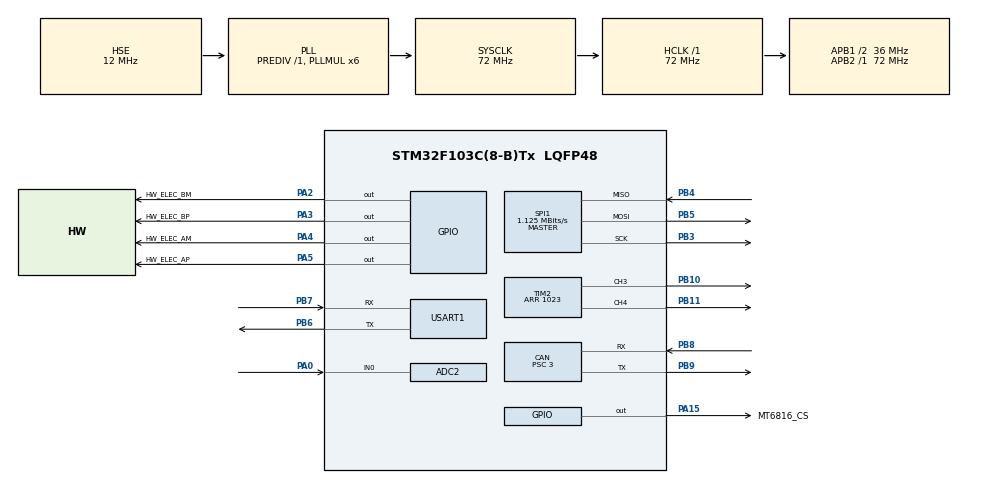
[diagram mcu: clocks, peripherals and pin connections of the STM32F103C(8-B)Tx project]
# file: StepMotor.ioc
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ADC1.Channel-1\#ChannelRegularConversion=ADC_CHANNEL_VREFINT
ADC1.NbrOfConversionFlag=1
ADC1.Rank-1\#ChannelRegularConversion=1
ADC1.SamplingTime-1\#ChannelRegularConversion=ADC_SAMPLETIME_1CYCLE_5
ADC1.master=1
ADC2.Channel-2\#ChannelRegularConversion=ADC_CHANNEL_0
ADC2.NbrOfConversionFlag=1
ADC2.Rank-2\#ChannelRegularConversion=1
ADC2.SamplingTime-2\#ChannelRegularConversion=ADC_SAMPLETIME_1CYCLE_5
CAN.BS1=CAN_BS1_9TQ
CAN.BS2=CAN_BS2_2TQ
CAN.CalculateBaudRate=1000000
CAN.CalculateTimeBit=999.99
CAN.CalculateTimeQuantum=83.33333333333334
CAN.Mode=CAN_MODE_NORMAL
CAN.Prescaler=3
Mcu.Family=STM32F1
Mcu.Name=STM32F103C(8-B)Tx
Mcu.Package=LQFP48
NVIC.PriorityGroup=NVIC_PRIORITYGROUP_4
NVIC.SPI1_IRQn=true\:0\:0\:true\:false\:true\:true\:true
NVIC.USB_LP_CAN1_RX0_IRQn=true\:0\:0\:true\:false\:true\:true\:true
PA0-WKUP.Signal=ADCx_IN0
PA13.Mode=Serial_Wire
PA13.Signal=SYS_JTMS-SWDIO
PA14.Mode=Serial_Wire
PA14.Signal=SYS_JTCK-SWCLK
PA15.GPIO_Label=MT6816_CS
PA15.GPIO_PuPd=GPIO_NOPULL
PA15.GPIO_Speed=GPIO_SPEED_FREQ_HIGH
PA15.PinState=GPIO_PIN_RESET
PA15.Signal=GPIO_Output
PA2.GPIO_Label=HW_ELEC_BM
PA2.GPIO_Speed=GPIO_SPEED_FREQ_HIGH
PA2.PinState=GPIO_PIN_SET
PA2.Signal=GPIO_Output
PA3.GPIO_Label=HW_ELEC_BP
PA3.GPIO_Speed=GPIO_SPEED_FREQ_HIGH
PA3.PinState=GPIO_PIN_SET
PA3.Signal=GPIO_Output
PA4.GPIO_Label=HW_ELEC_AM
PA4.GPIO_Speed=GPIO_SPEED_FREQ_HIGH
PA4.PinState=GPIO_PIN_SET
PA4.Signal=GPIO_Output
PA5.GPIO_Label=HW_ELEC_AP
PA5.GPIO_Speed=GPIO_SPEED_FREQ_HIGH
PA5.PinState=GPIO_PIN_SET
PA5.Signal=GPIO_Output
PB10.Signal=S_TIM2_CH3
PB11.Signal=S_TIM2_CH4
PB3.Mode=Full_Duplex_Master
PB3.Signal=SPI1_SCK
PB4.Mode=Full_Duplex_Master
PB4.Signal=SPI1_MISO
PB5.GPIO_Speed=GPIO_SPEED_FREQ_HIGH
PB5.Mode=Full_Duplex_Master
PB5.Signal=SPI1_MOSI
PB6.Mode=Asynchronous
PB6.Signal=USART1_TX
PB7.Mode=Asynchronous
PB7.Signal=USART1_RX
PB8.Mode=CAN_Activate
PB8.Signal=CAN_RX
PB9.Mode=CAN_Activate
PB9.Signal=CAN_TX
PD0-OSC_IN.Mode=HSE-External-Oscillator
PD0-OSC_IN.Signal=RCC_OSC_IN
PD1-OSC_OUT.Mode=HSE-External-Oscillator
PD1-OSC_OUT.Signal=RCC_OSC_OUT
ProjectManager.HeapSize=0x200
ProjectManager.StackSize=0x400
ProjectManager.TargetToolchain=MDK-ARM V5
RCC.ADCPresc=RCC_ADCPCLK2_DIV6
RCC.AHBFreq_Value=72000000
RCC.APB1CLKDivider=RCC_HCLK_DIV2
RCC.APB1Freq_Value=36000000
RCC.APB1TimFreq_Value=72000000
RCC.APB2Freq_Value=72000000
RCC.APB2TimFreq_Value=72000000
RCC.HCLKFreq_Value=72000000
RCC.HSE_VALUE=12000000
RCC.PLLMUL=RCC_PLL_MUL6
RCC.PLLSourceVirtual=RCC_PLLSOURCE_HSE
RCC.SYSCLKFreq_VALUE=72000000
RCC.SYSCLKSource=RCC_SYSCLKSOURCE_PLLCLK
RCC.USBFreq_Value=72000000
SH.ADCx_IN0.0=ADC2_IN0,IN0
SH.S_TIM2_CH3.0=TIM2_CH3,PWM Generation3 CH3
SH.S_TIM2_CH4.0=TIM2_CH4,PWM Generation4 CH4
SPI1.BaudRatePrescaler=SPI_BAUDRATEPRESCALER_64
SPI1.CLKPhase=SPI_PHASE_2EDGE
SPI1.CLKPolarity=SPI_POLARITY_HIGH
SPI1.CalculateBaudRate=1.125 MBits/s
SPI1.DataSize=SPI_DATASIZE_16BIT
SPI1.Direction=SPI_DIRECTION_2LINES
SPI1.Mode=SPI_MODE_MASTER
SPI1.VirtualType=VM_MASTER
TIM2.Channel-PWM\ Generation3\ CH3=TIM_CHANNEL_3
TIM2.Channel-PWM\ Generation4\ CH4=TIM_CHANNEL_4
TIM2.Period=1023
USART1.VirtualMode=VM_ASYNC
VP_ADC1_TempSens_Input.Mode=IN-TempSens
VP_ADC1_Vref_Input.Mode=IN-Vrefint
board=custom

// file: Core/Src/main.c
/* USER CODE BEGIN Header */
/**
  ******************************************************************************
  * @file           : main.c
  * @brief          : Main program body
  ******************************************************************************
  * @attention
  *
  * <h2><center>&copy; Copyright (c) 2022 STMicroelectronics.
  * All rights reserved.</center></h2>
  *
  * This software component is licensed by ST under BSD 3-Clause license,
  * the "License"; You may not use this file except in compliance with the
  * License. You may obtain a copy of the License at:
  *                        opensource.org/licenses/BSD-3-Clause
  *
  ******************************************************************************
  */
/* USER CODE END Header */
#include "main.h"
#include "adc.h"
#include "can.h"
#include "spi.h"
#include "tim.h"
#include "usart.h"
#include "gpio.h"

/* USER CODE BEGIN Includes */
#include "bsp_adc.h"
#include "MT6816Driver.h"
#include "motor_control.h"
#include "hw_elec.h"
#include "encoder_cali.h"
#include "loop.h"
/* USER CODE END Includes */

void SystemClock_Config(void);

/* USER CODE BEGIN 0 */
//fp32 voltage;
extern MT6816_Typedef	mt6816;
extern Motor_Control_Typedef 	motor_control;
extern SPI_HandleTypeDef hspi1;
extern TIM_HandleTypeDef htim2;
extern Encode_Cali_Typedef encode_cali;

/* USER CODE END 0 */

int main(void)
{

  /* MCU Configuration--------------------------------------------------------*/

  /* Reset of all peripherals, Initializes the Flash interface and the Systick. */
  HAL_Init();

  /* Configure the system clock */
  SystemClock_Config();

  /* Initialize all configured peripherals */
  MX_GPIO_Init();
  MX_USART1_UART_Init();
  MX_ADC1_Init();
  MX_ADC2_Init();
  MX_SPI1_Init();
  MX_TIM2_Init();
  MX_CAN_Init();
  /* USER CODE BEGIN 2 */
	//初始化电压基准系数
	init_vrefint_reciprocal();
	//开启定时器
  HAL_TIM_Base_Start(&htim2);
  //start pwm channel
  //开启PWM通道
  HAL_TIM_PWM_Start(&htim2, TIM_CHANNEL_3);
  HAL_TIM_PWM_Start(&htim2, TIM_CHANNEL_4);
	//初始化编码器
	REIN_MT6816_Init();
	//初始化PID
	Control_PID_Init();
	Control_DCE_Init();
	//初始化校准器
	Calibration_Init();
	encode_cali.trigger=false;

	//CAN过滤器
	can_filter_init();
	loop();
  /* USER CODE END 2 */

  /* Infinite loop */
  while (1)
  {

    /* USER CODE BEGIN 3 */
		//获取电源电压
		//voltage = get_battery_voltage();

		//串口1发送“Robomaster”
		//HAL_UART_Transmit(&huart1, "\r\nRobomaster\r\n", 14, 100);
		//获取编码器角度
		//REIN_MT6816_Get_AngleData();
		//i = mt6816.angle_data;
		//Flag = mt6816_spi.no_mag_flag;
		//延时1000ms
		//REIN_HW_Elec_SetDivideElec(1000,3000);
		//motor_control.est_location = mt6816.angle_data;
			//Control_Cur_To_Electric(cu);
		//Delay_us(1000);
		//REIN_HW_Elec_SetBrake();
		//Control_PID_To_Electric(102400);
		//HAL_Delay(100);
  }
  /* USER CODE END 3 */
}

void SystemClock_Config(void)
{
  RCC_OscInitTypeDef RCC_OscInitStruct = {0};
  RCC_ClkInitTypeDef RCC_ClkInitStruct = {0};
  RCC_PeriphCLKInitTypeDef PeriphClkInit = {0};

  /** Initializes the RCC Oscillators according to the specified parameters
  * in the RCC_OscInitTypeDef structure.
  */
  RCC_OscInitStruct.OscillatorType = RCC_OSCILLATORTYPE_HSE;
  RCC_OscInitStruct.HSEState = RCC_HSE_ON;
  RCC_OscInitStruct.HSEPredivValue = RCC_HSE_PREDIV_DIV1;
  RCC_OscInitStruct.HSIState = RCC_HSI_ON;
  RCC_OscInitStruct.PLL.PLLState = RCC_PLL_ON;
  RCC_OscInitStruct.PLL.PLLSource = RCC_PLLSOURCE_HSE;
  RCC_OscInitStruct.PLL.PLLMUL = RCC_PLL_MUL6;
  if (HAL_RCC_OscConfig(&RCC_OscInitStruct) != HAL_OK)
  {
    Error_Handler();
  }
  /** Initializes the CPU, AHB and APB buses clocks
  */
  RCC_ClkInitStruct.ClockType = RCC_CLOCKTYPE_HCLK|RCC_CLOCKTYPE_SYSCLK
                              |RCC_CLOCKTYPE_PCLK1|RCC_CLOCKTYPE_PCLK2;
  RCC_ClkInitStruct.SYSCLKSource = RCC_SYSCLKSOURCE_PLLCLK;
  RCC_ClkInitStruct.AHBCLKDivider = RCC_SYSCLK_DIV1;
  RCC_ClkInitStruct.APB1CLKDivider = RCC_HCLK_DIV2;
  RCC_ClkInitStruct.APB2CLKDivider = RCC_HCLK_DIV1;

  if (HAL_RCC_ClockConfig(&RCC_ClkInitStruct, FLASH_LATENCY_2) != HAL_OK)
  {
    Error_Handler();
  }
  PeriphClkInit.PeriphClockSelection = RCC_PERIPHCLK_ADC;
  PeriphClkInit.AdcClockSelection = RCC_ADCPCLK2_DIV6;
  if (HAL_RCCEx_PeriphCLKConfig(&PeriphClkInit) != HAL_OK)
  {
    Error_Handler();
  }
}

void Error_Handler(void)
{
  __disable_irq();
  while (1)
  {
  }
}

/************************ (C) COPYRIGHT STMicroelectronics *****END OF FILE****/
